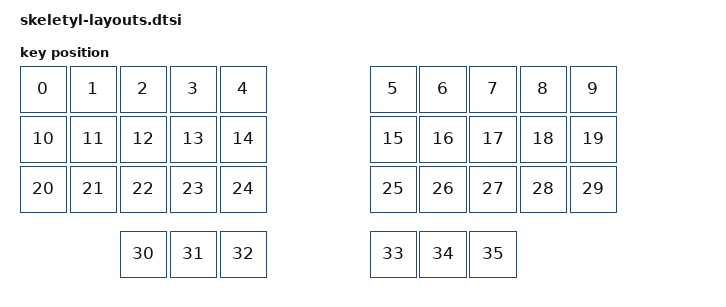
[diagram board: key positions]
#include <physical_layouts.dtsi>

/*
 * Schematic 3x5+3 geometry for ZMK Studio.
 *
 * The key order is exact and matches the matrix transform/keymap positions.
 * The x/y coordinates are intentionally schematic; they affect only Studio's
 * visualization, not electrical scanning or key behavior.
 */
/ {
    physical_layout0: skeletyl_physical_layout {
        compatible = "zmk,physical-layout";
        display-name = "Skeletyl 3x5+3";

        keys =
            //                   w   h     x    y   rot  rx  ry
              <&key_physical_attrs 100 100     0    0    0   0   0>
            , <&key_physical_attrs 100 100   100    0    0   0   0>
            , <&key_physical_attrs 100 100   200    0    0   0   0>
            , <&key_physical_attrs 100 100   300    0    0   0   0>
            , <&key_physical_attrs 100 100   400    0    0   0   0>
            , <&key_physical_attrs 100 100   700    0    0   0   0>
            , <&key_physical_attrs 100 100   800    0    0   0   0>
            , <&key_physical_attrs 100 100   900    0    0   0   0>
            , <&key_physical_attrs 100 100  1000    0    0   0   0>
            , <&key_physical_attrs 100 100  1100    0    0   0   0>

            , <&key_physical_attrs 100 100     0  100    0   0   0>
            , <&key_physical_attrs 100 100   100  100    0   0   0>
            , <&key_physical_attrs 100 100   200  100    0   0   0>
            , <&key_physical_attrs 100 100   300  100    0   0   0>
            , <&key_physical_attrs 100 100   400  100    0   0   0>
            , <&key_physical_attrs 100 100   700  100    0   0   0>
            , <&key_physical_attrs 100 100   800  100    0   0   0>
            , <&key_physical_attrs 100 100   900  100    0   0   0>
            , <&key_physical_attrs 100 100  1000  100    0   0   0>
            , <&key_physical_attrs 100 100  1100  100    0   0   0>

            , <&key_physical_attrs 100 100     0  200    0   0   0>
            , <&key_physical_attrs 100 100   100  200    0   0   0>
            , <&key_physical_attrs 100 100   200  200    0   0   0>
            , <&key_physical_attrs 100 100   300  200    0   0   0>
            , <&key_physical_attrs 100 100   400  200    0   0   0>
            , <&key_physical_attrs 100 100   700  200    0   0   0>
            , <&key_physical_attrs 100 100   800  200    0   0   0>
            , <&key_physical_attrs 100 100   900  200    0   0   0>
            , <&key_physical_attrs 100 100  1000  200    0   0   0>
            , <&key_physical_attrs 100 100  1100  200    0   0   0>

            // thumbs: left outer/middle/inner | right inner/middle/outer
            , <&key_physical_attrs 100 100   200  330    0   0   0>
            , <&key_physical_attrs 100 100   300  330    0   0   0>
            , <&key_physical_attrs 100 100   400  330    0   0   0>
            , <&key_physical_attrs 100 100   700  330    0   0   0>
            , <&key_physical_attrs 100 100   800  330    0   0   0>
            , <&key_physical_attrs 100 100   900  330    0   0   0>
            ;
    };
};
